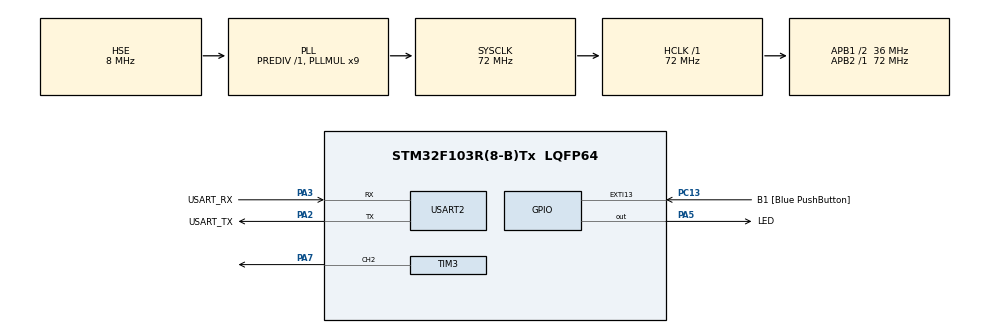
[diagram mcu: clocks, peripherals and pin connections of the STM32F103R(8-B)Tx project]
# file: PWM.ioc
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Mcu.Family=STM32F1
Mcu.Name=STM32F103R(8-B)Tx
Mcu.Package=LQFP64
NVIC.EXTI15_10_IRQn=true\:0\:0\:false\:false\:true\:true\:true\:true
NVIC.PriorityGroup=NVIC_PRIORITYGROUP_4
NVIC.USART2_IRQn=true\:0\:0\:false\:false\:true\:true\:true\:true
PA13.GPIO_Label=TMS
PA13.Mode=Serial_Wire
PA13.Signal=SYS_JTMS-SWDIO
PA14.GPIO_Label=TCK
PA14.Mode=Serial_Wire
PA14.Signal=SYS_JTCK-SWCLK
PA2.GPIO_Label=USART_TX
PA2.GPIO_Mode=GPIO_MODE_AF_PP
PA2.GPIO_PuPd=GPIO_NOPULL
PA2.GPIO_Speed=GPIO_SPEED_FREQ_LOW
PA2.Mode=Asynchronous
PA2.Signal=USART2_TX
PA3.GPIO_Label=USART_RX
PA3.GPIO_Mode=GPIO_MODE_AF_PP
PA3.GPIO_PuPd=GPIO_NOPULL
PA3.GPIO_Speed=GPIO_SPEED_FREQ_LOW
PA3.Mode=Asynchronous
PA3.Signal=USART2_RX
PA5.GPIO_Label=LED
PA5.GPIO_ModeDefaultOutputPP=GPIO_MODE_OUTPUT_PP
PA5.GPIO_PuPd=GPIO_NOPULL
PA5.GPIO_Speed=GPIO_SPEED_FREQ_LOW
PA5.Signal=GPIO_Output
PA7.Signal=S_TIM3_CH2
PB3.GPIO_Label=SWO
PB3.Signal=SYS_JTDO-TRACESWO
PC13-TAMPER-RTC.GPIO_Label=B1 [Blue PushButton]
PC13-TAMPER-RTC.GPIO_PuPd=GPIO_NOPULL
PC13-TAMPER-RTC.Signal=GPXTI13
PC14-OSC32_IN.Mode=LSE-External-Oscillator
PC14-OSC32_IN.Signal=RCC_OSC32_IN
PC15-OSC32_OUT.Mode=LSE-External-Oscillator
PC15-OSC32_OUT.Signal=RCC_OSC32_OUT
PD0-OSC_IN.Mode=HSE-External-Oscillator
PD0-OSC_IN.Signal=RCC_OSC_IN
PD1-OSC_OUT.Mode=HSE-External-Oscillator
PD1-OSC_OUT.Signal=RCC_OSC_OUT
ProjectManager.HeapSize=0x200
ProjectManager.StackSize=0x400
ProjectManager.TargetToolchain=STM32CubeIDE
RCC.AHBFreq_Value=72000000
RCC.APB1CLKDivider=RCC_HCLK_DIV2
RCC.APB1Freq_Value=36000000
RCC.APB1TimFreq_Value=72000000
RCC.APB2Freq_Value=72000000
RCC.APB2TimFreq_Value=72000000
RCC.HCLKFreq_Value=72000000
RCC.PLLMUL=RCC_PLL_MUL9
RCC.PLLSourceVirtual=RCC_PLLSOURCE_HSE
RCC.RTCClockSelection=RCC_RTCCLKSOURCE_LSE
RCC.SYSCLKFreq_VALUE=72000000
RCC.SYSCLKSource=RCC_SYSCLKSOURCE_PLLCLK
RCC.USBFreq_Value=72000000
SH.S_TIM3_CH2.0=TIM3_CH2,PWM Generation2 CH2
TIM3.Channel-PWM\ Generation2\ CH2=TIM_CHANNEL_2
TIM3.Period=999
TIM3.Prescaler=71
USART2.VirtualMode=VM_ASYNC
board=NUCLEO-F103RB

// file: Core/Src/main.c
/* USER CODE BEGIN Header */
/**
 ******************************************************************************
 * @file           : main.c
 * @brief          : Main program body
 ******************************************************************************
 * @attention
 *
 * Copyright (c) 2024 STMicroelectronics.
 * All rights reserved.
 *
 * This software is licensed under terms that can be found in the LICENSE file
 * in the root directory of this software component.
 * If no LICENSE file comes with this software, it is provided AS-IS.
 *
 ******************************************************************************
 */
/* USER CODE END Header */
#include "main.h"

TIM_HandleTypeDef htim3;

UART_HandleTypeDef huart2;

void SystemClock_Config(void);
static void MX_GPIO_Init(void);
static void MX_USART2_UART_Init(void);
static void MX_TIM3_Init(void);

/* USER CODE BEGIN 0 */
char rxData[80];
uint16_t value = 0;
void HAL_UART_RxCpltCallback(UART_HandleTypeDef *huart) {
	static char rxBuffer[10];
	static uint8_t index = 0;

	if (huart->Instance == USART2) {
		if (rxBuffer[index] == '\r') {
			value = atoi(rxBuffer);
			if (value >= 500 && value <= 1000) {
				__HAL_TIM_SET_COMPARE(&htim3, TIM_CHANNEL_2, value);
			} else {
				char error_msg[] = "Error: PWM width must be between 500 and 1000\r\n";
				HAL_UART_Transmit(&huart2, (uint8_t *)error_msg, strlen(error_msg), HAL_MAX_DELAY);
			}
			index = 0;
		} else {
			rxBuffer[index++] = rxData[0];
			HAL_UART_Receive_IT(&huart2, &rxData, 1);
		}
	}
/* USER CODE END 0 */

int main(void)
{

  /* MCU Configuration--------------------------------------------------------*/

  /* Reset of all peripherals, Initializes the Flash interface and the Systick. */
  HAL_Init();

  /* Configure the system clock */
  SystemClock_Config();

  /* Initialize all configured peripherals */
  MX_GPIO_Init();
  MX_USART2_UART_Init();
  MX_TIM3_Init();
  /* USER CODE BEGIN 2 */
		HAL_TIM_PWM_Start(&htim3, TIM_CHANNEL_2);
		HAL_UART_Receive_IT(&huart2, (uint8_t *)rxData, 1);
  /* USER CODE END 2 */

  /* Infinite loop */
  /* USER CODE BEGIN WHILE */
		while (1) {
			__HAL_TIM_SET_COMPARE(&htim3, TIM_CHANNEL_2, value);
			char txData[50];
			sprintf(txData, "PWM Width: %lu\n", value);
			HAL_UART_Transmit(&huart2, (uint8_t *)txData, strlen(txData), HAL_MAX_DELAY);
			HAL_Delay(1000);
    /* USER CODE END WHILE */

		}
}

void SystemClock_Config(void)
{
  RCC_OscInitTypeDef RCC_OscInitStruct = {0};
  RCC_ClkInitTypeDef RCC_ClkInitStruct = {0};

  /** Initializes the RCC Oscillators according to the specified parameters
  * in the RCC_OscInitTypeDef structure.
  */
  RCC_OscInitStruct.OscillatorType = RCC_OSCILLATORTYPE_HSE;
  RCC_OscInitStruct.HSEState = RCC_HSE_ON;
  RCC_OscInitStruct.HSEPredivValue = RCC_HSE_PREDIV_DIV1;
  RCC_OscInitStruct.HSIState = RCC_HSI_ON;
  RCC_OscInitStruct.PLL.PLLState = RCC_PLL_ON;
  RCC_OscInitStruct.PLL.PLLSource = RCC_PLLSOURCE_HSE;
  RCC_OscInitStruct.PLL.PLLMUL = RCC_PLL_MUL9;
  if (HAL_RCC_OscConfig(&RCC_OscInitStruct) != HAL_OK)
  {
    Error_Handler();
  }

  /** Initializes the CPU, AHB and APB buses clocks
  */
  RCC_ClkInitStruct.ClockType = RCC_CLOCKTYPE_HCLK|RCC_CLOCKTYPE_SYSCLK
                              |RCC_CLOCKTYPE_PCLK1|RCC_CLOCKTYPE_PCLK2;
  RCC_ClkInitStruct.SYSCLKSource = RCC_SYSCLKSOURCE_PLLCLK;
  RCC_ClkInitStruct.AHBCLKDivider = RCC_SYSCLK_DIV1;
  RCC_ClkInitStruct.APB1CLKDivider = RCC_HCLK_DIV2;
  RCC_ClkInitStruct.APB2CLKDivider = RCC_HCLK_DIV1;

  if (HAL_RCC_ClockConfig(&RCC_ClkInitStruct, FLASH_LATENCY_2) != HAL_OK)
  {
    Error_Handler();
  }
}

void MX_TIM3_Init(void)
{

  TIM_MasterConfigTypeDef sMasterConfig = {0};
  TIM_OC_InitTypeDef sConfigOC = {0};

  htim3.Instance = TIM3;
  htim3.Init.Prescaler = 71;
  htim3.Init.CounterMode = TIM_COUNTERMODE_UP;
  htim3.Init.Period = 999;
  htim3.Init.ClockDivision = TIM_CLOCKDIVISION_DIV1;
  htim3.Init.AutoReloadPreload = TIM_AUTORELOAD_PRELOAD_DISABLE;
  if (HAL_TIM_PWM_Init(&htim3) != HAL_OK)
  {
    Error_Handler();
  }
  sMasterConfig.MasterOutputTrigger = TIM_TRGO_RESET;
  sMasterConfig.MasterSlaveMode = TIM_MASTERSLAVEMODE_DISABLE;
  if (HAL_TIMEx_MasterConfigSynchronization(&htim3, &sMasterConfig) != HAL_OK)
  {
    Error_Handler();
  }
  sConfigOC.OCMode = TIM_OCMODE_PWM1;
  sConfigOC.Pulse = 0;
  sConfigOC.OCPolarity = TIM_OCPOLARITY_HIGH;
  sConfigOC.OCFastMode = TIM_OCFAST_DISABLE;
  if (HAL_TIM_PWM_ConfigChannel(&htim3, &sConfigOC, TIM_CHANNEL_2) != HAL_OK)
  {
    Error_Handler();
  }
  HAL_TIM_MspPostInit(&htim3);

}

void MX_USART2_UART_Init(void)
{

  huart2.Instance = USART2;
  huart2.Init.BaudRate = 115200;
  huart2.Init.WordLength = UART_WORDLENGTH_8B;
  huart2.Init.StopBits = UART_STOPBITS_1;
  huart2.Init.Parity = UART_PARITY_NONE;
  huart2.Init.Mode = UART_MODE_TX_RX;
  huart2.Init.HwFlowCtl = UART_HWCONTROL_NONE;
  huart2.Init.OverSampling = UART_OVERSAMPLING_16;
  if (HAL_UART_Init(&huart2) != HAL_OK)
  {
    Error_Handler();
  }

}

void MX_GPIO_Init(void)
{
  GPIO_InitTypeDef GPIO_InitStruct = {0};

  /* GPIO Ports Clock Enable */
  __HAL_RCC_GPIOC_CLK_ENABLE();
  __HAL_RCC_GPIOD_CLK_ENABLE();
  __HAL_RCC_GPIOA_CLK_ENABLE();
  __HAL_RCC_GPIOB_CLK_ENABLE();

  /*Configure GPIO pin Output Level */
  HAL_GPIO_WritePin(LED_GPIO_Port, LED_Pin, GPIO_PIN_RESET);

  /*Configure GPIO pin : B1_Pin */
  GPIO_InitStruct.Pin = B1_Pin;
  GPIO_InitStruct.Mode = GPIO_MODE_IT_RISING;
  GPIO_InitStruct.Pull = GPIO_NOPULL;
  HAL_GPIO_Init(B1_GPIO_Port, &GPIO_InitStruct);

  /*Configure GPIO pin : LED_Pin */
  GPIO_InitStruct.Pin = LED_Pin;
  GPIO_InitStruct.Mode = GPIO_MODE_OUTPUT_PP;
  GPIO_InitStruct.Pull = GPIO_NOPULL;
  GPIO_InitStruct.Speed = GPIO_SPEED_FREQ_LOW;
  HAL_GPIO_Init(LED_GPIO_Port, &GPIO_InitStruct);

  /* EXTI interrupt init*/
  HAL_NVIC_SetPriority(EXTI15_10_IRQn, 0, 0);
  HAL_NVIC_EnableIRQ(EXTI15_10_IRQn);

}

void Error_Handler(void)
	{
  /* USER CODE BEGIN Error_Handler_Debug */
		/* User can add his own implementation to report the HAL error return state */
		__disable_irq();
		while (1) {
			HAL_GPIO_TogglePin(LED_GPIO_Port, LED_Pin);
			HAL_Delay(1000);
		}
	}
  /* USER CODE END Error_Handler_Debug */
}
